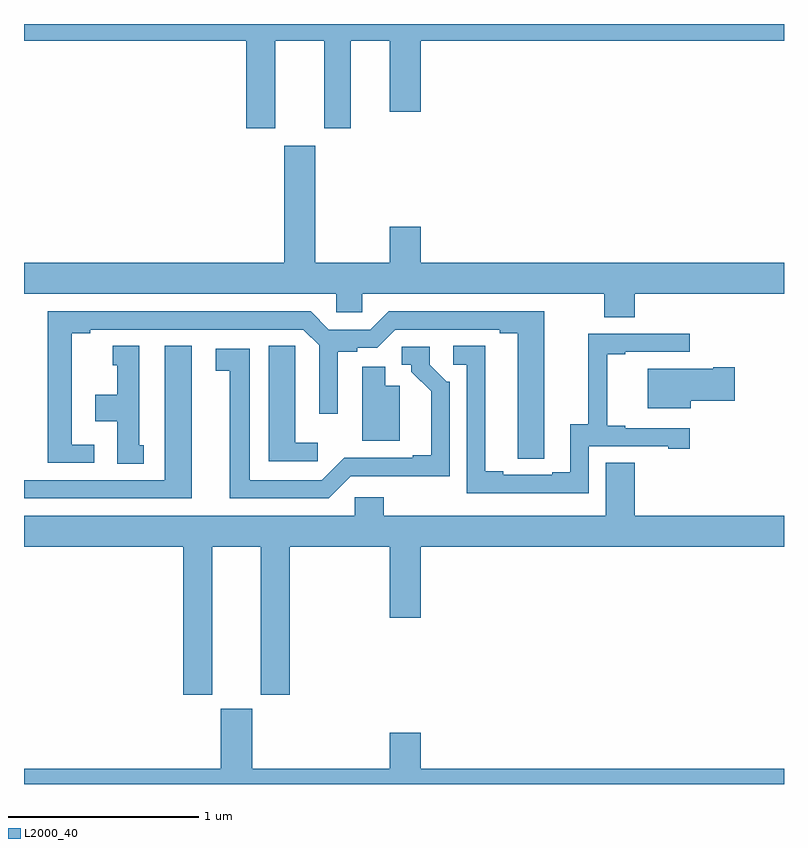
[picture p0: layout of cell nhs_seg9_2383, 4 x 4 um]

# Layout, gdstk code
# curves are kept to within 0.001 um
import gdstk
lib = gdstk.Library(unit=1e-6, precision=1e-09)
def P(c, l, *ps):  # polygons
    for p in ps: c.add(gdstk.Polygon(p, *l))
L2000_40 = (2000, 40)

nhs_seg9_2383 = lib.new_cell('nhs_seg9_2383')
P(nhs_seg9_2383, L2000_40, [(248.323,1204.412),(248.579,1204.412),(248.579,1203.951),(248.719,1203.951),(248.719,1204.412),(248.924,1204.412),(248.924,1204.038),(249.088,1204.038),(249.088,1204.412),(251,1204.412),(251,1204.5),(247,1204.5),(247,1204.412),(248.171,1204.412),(248.171,1203.951),(248.323,1203.951)],
  [(250.214,1203.08),(251,1203.08),(251,1203.244),(249.088,1203.244),(249.088,1203.433),(248.924,1203.433),(248.924,1203.244),(248.533,1203.244),(248.533,1203.859),(248.369,1203.859),(248.369,1203.244),(247,1203.244),(247,1203.08),(248.643,1203.08),(248.643,1202.982),(248.781,1202.982),(248.781,1203.08),(250.054,1203.08),(250.054,1202.956),(250.214,1202.956)],
  [(247.369,1202.286),(247.252,1202.286),(247.252,1202.872),(247.348,1202.872),(247.348,1202.892),(248.469,1202.892),(248.553,1202.808),(248.553,1202.448),(248.65,1202.448),(248.65,1202.776),(248.754,1202.776),(248.754,1202.796),(248.859,1202.796),(248.955,1202.892),(249.503,1202.892),(249.503,1202.872),(249.599,1202.872),(249.599,1202.212),(249.738,1202.212),(249.739,1202.988),(248.919,1202.988),(248.823,1202.892),(248.605,1202.892),(248.509,1202.988),(247.124,1202.988),(247.124,1202.19),(247.369,1202.19)],
  [(249.972,1202.277),(250.391,1202.277),(250.391,1202.265),(250.504,1202.265),(250.504,1202.373),(250.165,1202.373),(250.165,1202.386),(250.07,1202.386),(250.07,1202.763),(250.165,1202.763),(250.165,1202.775),(250.504,1202.775),(250.504,1202.871),(249.97,1202.871),(249.97,1202.393),(249.875,1202.393),(249.875,1202.142),(249.779,1202.142),(249.779,1202.127),(249.523,1202.127),(249.523,1202.147),(249.427,1202.147),(249.427,1202.807),(249.258,1202.807),(249.258,1202.706),(249.33,1202.706),(249.33,1202.031),(249.972,1202.031)],
  [(248.545,1202.296),(248.428,1202.296),(248.428,1202.699),(248.427,1202.699),(248.427,1202.807),(248.288,1202.807),(248.288,1202.199),(248.545,1202.199)],
  [(247.882,1202.806),(247.742,1202.806),(247.742,1202.1),(247,1202.1),(247,1202.004),(247.882,1202.004)],
  [(247.63,1202.283),(247.606,1202.283),(247.606,1202.806),(247.466,1202.806),(247.466,1202.703),(247.49,1202.703),(247.49,1202.548),(247.376,1202.548),(247.376,1202.408),(247.49,1202.408),(247.49,1202.185),(247.63,1202.185)],
  [(248.721,1202.121),(249.24,1202.12),(249.24,1202.616),(249.225,1202.616),(249.135,1202.706),(249.135,1202.802),(248.988,1202.802),(248.988,1202.706),(249.038,1202.706),(249.038,1202.671),(249.143,1202.566),(249.143,1202.23),(249.047,1202.23),(249.047,1202.217),(248.685,1202.217),(248.568,1202.1),(248.188,1202.1),(248.188,1202.79),(248.01,1202.79),(248.01,1202.674),(248.084,1202.674),(248.084,1202.004),(248.604,1202.004)],
  [(248.977,1202.596),(248.902,1202.596),(248.902,1202.695),(248.78,1202.695),(248.78,1202.306),(248.977,1202.306)],
  [(250.51,1202.516),(250.741,1202.516),(250.741,1202.694),(250.628,1202.694),(250.628,1202.686),(250.283,1202.686),(250.283,1202.477),(250.51,1202.477)],
  [(247.99,1201.748),(248.246,1201.748),(248.246,1200.969),(248.399,1200.969),(248.399,1201.748),(248.924,1201.748),(248.924,1201.374),(249.088,1201.374),(249.088,1201.748),(251,1201.748),(251,1201.912),(250.214,1201.912),(250.214,1202.192),(250.061,1202.192),(250.061,1201.912),(248.894,1201.912),(248.894,1202.01),(248.742,1202.01),(248.742,1201.912),(247,1201.912),(247,1201.748),(247.838,1201.748),(247.838,1200.969),(247.99,1200.969)],
  [(251,1200.58),(249.088,1200.58),(249.088,1200.769),(248.924,1200.769),(248.924,1200.58),(248.2,1200.58),(248.2,1200.897),(248.036,1200.897),(248.036,1200.58),(247,1200.58),(247,1200.5),(251,1200.5)])

lib.write_gds('nhs_seg9_2383.gds')
